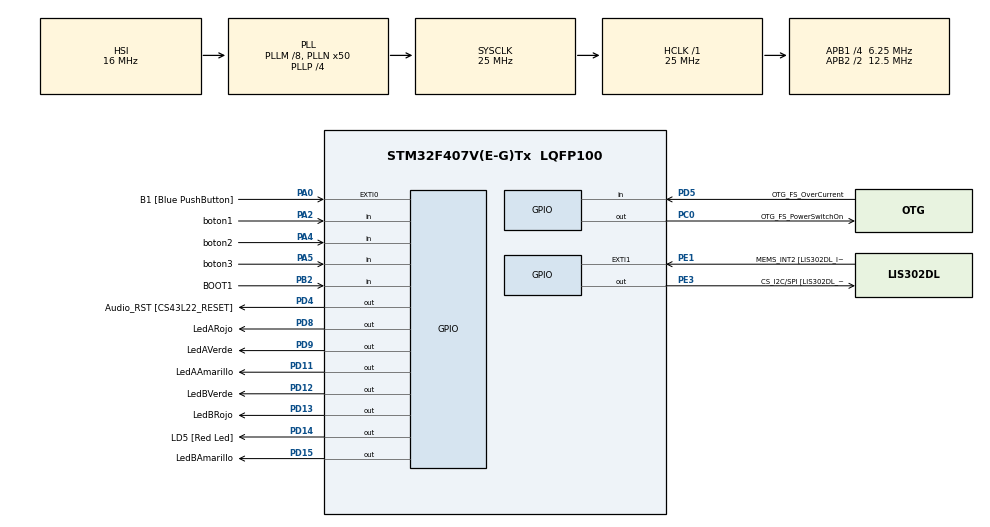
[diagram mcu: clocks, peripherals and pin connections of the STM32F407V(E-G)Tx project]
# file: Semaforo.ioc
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Mcu.Family=STM32F4
Mcu.Name=STM32F407V(E-G)Tx
Mcu.Package=LQFP100
NVIC.PriorityGroup=NVIC_PRIORITYGROUP_0
PA0-WKUP.GPIO_Label=B1 [Blue PushButton]
PA0-WKUP.Signal=GPXTI0
PA10.GPIO_Label=OTG_FS_ID
PA10.GPIO_Mode=GPIO_MODE_AF_PP
PA10.GPIO_PuPd=GPIO_NOPULL
PA10.GPIO_Speed=GPIO_SPEED_FREQ_LOW
PA10.Signal=USB_OTG_FS_ID
PA11.GPIO_Label=OTG_FS_DM
PA11.GPIO_Mode=GPIO_MODE_AF_PP
PA11.GPIO_PuPd=GPIO_NOPULL
PA11.GPIO_Speed=GPIO_SPEED_FREQ_LOW
PA11.Signal=USB_OTG_FS_DM
PA12.GPIO_Label=OTG_FS_DP
PA12.GPIO_Mode=GPIO_MODE_AF_PP
PA12.GPIO_PuPd=GPIO_NOPULL
PA12.GPIO_Speed=GPIO_SPEED_FREQ_LOW
PA12.Signal=USB_OTG_FS_DP
PA13.GPIO_Label=SWDIO
PA13.Signal=SYS_JTMS-SWDIO
PA14.GPIO_Label=SWCLK
PA14.Signal=SYS_JTCK-SWCLK
PA2.GPIO_Label=boton1
PA2.Signal=GPIO_Input
PA4.GPIO_Label=boton2
PA4.Signal=GPIO_Input
PA5.GPIO_Label=boton3
PA5.Signal=GPIO_Input
PA6.GPIO_Label=SPI1_MISO [LIS302DL_SDO]
PA6.GPIO_Mode=GPIO_MODE_AF_PP
PA6.GPIO_PuPd=GPIO_NOPULL
PA6.GPIO_Speed=GPIO_SPEED_FREQ_LOW
PA6.Signal=SPI1_MISO
PA7.GPIO_Label=SPI1_MOSI [LIS302DL_SDA/SDI/SDO]
PA7.GPIO_Mode=GPIO_MODE_AF_PP
PA7.GPIO_PuPd=GPIO_NOPULL
PA7.GPIO_Speed=GPIO_SPEED_FREQ_LOW
PA7.Signal=SPI1_MOSI
PA9.GPIO_Label=VBUS_FS
PA9.GPIO_Mode=GPIO_MODE_INPUT
PA9.GPIO_PuPd=GPIO_NOPULL
PA9.Signal=USB_OTG_FS_VBUS
PB10.GPIO_Label=CLK_IN [MP45DT02_CLK]
PB10.GPIO_Mode=GPIO_MODE_AF_PP
PB10.GPIO_PuPd=GPIO_NOPULL
PB10.GPIO_Speed=GPIO_SPEED_FREQ_LOW
PB10.Signal=I2S2_CK
PB2.GPIO_Label=BOOT1
PB2.GPIO_Mode=GPIO_MODE_INPUT
PB2.GPIO_PuPd=GPIO_NOPULL
PB2.Signal=GPIO_Input
PB3.GPIO_Label=SWO
PB3.Signal=SYS_JTDO-SWO
PB6.GPIO_Label=Audio_SCL [CS43L22_SCL]
PB6.GPIO_Mode=GPIO_MODE_AF_OD
PB6.GPIO_PuPd=GPIO_NOPULL
PB6.GPIO_Speed=GPIO_SPEED_FREQ_LOW
PB6.Signal=I2C1_SCL
PB9.GPIO_Label=Audio_SDA [CS43L22_SDA]
PB9.GPIO_Mode=GPIO_MODE_AF_OD
PB9.GPIO_PuPd=GPIO_NOPULL
PB9.GPIO_Speed=GPIO_SPEED_FREQ_LOW
PB9.Signal=I2C1_SDA
PC0.GPIO_Label=OTG_FS_PowerSwitchOn
PC0.GPIO_PuPd=GPIO_NOPULL
PC0.GPIO_Speed=GPIO_SPEED_FREQ_LOW
PC0.PinState=GPIO_PIN_SET
PC0.Signal=GPIO_Output
PC10.GPIO_Label=I2S3_SCK [CS43L22_SCLK]
PC10.GPIO_Mode=GPIO_MODE_AF_PP
PC10.GPIO_PuPd=GPIO_NOPULL
PC10.GPIO_Speed=GPIO_SPEED_FREQ_LOW
PC10.Signal=I2S3_CK
PC12.GPIO_Label=I2S3_SD [CS43L22_SDIN]
PC12.GPIO_Mode=GPIO_MODE_AF_PP
PC12.GPIO_PuPd=GPIO_NOPULL
PC12.GPIO_Speed=GPIO_SPEED_FREQ_LOW
PC12.Signal=I2S3_SD
PC14-OSC32_IN.GPIO_Label=PC14-OSC32_IN
PC14-OSC32_IN.Signal=RCC_OSC32_IN
PC15-OSC32_OUT.GPIO_Label=PC15-OSC32_OUT
PC15-OSC32_OUT.Signal=RCC_OSC32_OUT
PC3.GPIO_Label=PDM_OUT [MP45DT02_DOUT]
PC3.GPIO_Mode=GPIO_MODE_AF_PP
PC3.GPIO_PuPd=GPIO_NOPULL
PC3.GPIO_Speed=GPIO_SPEED_FREQ_LOW
PC3.Signal=I2S2_SD
PC7.GPIO_Label=I2S3_MCK [CS43L22_MCLK]
PC7.GPIO_Mode=GPIO_MODE_AF_PP
PC7.GPIO_PuPd=GPIO_NOPULL
PC7.GPIO_Speed=GPIO_SPEED_FREQ_LOW
PC7.Signal=I2S3_MCK
PD11.GPIO_Label=LedAAmarillo
PD11.GPIO_Speed=GPIO_SPEED_FREQ_LOW
PD11.Signal=GPIO_Output
PD12.GPIO_Label=LedBVerde
PD12.GPIO_PuPd=GPIO_NOPULL
PD12.GPIO_Speed=GPIO_SPEED_FREQ_LOW
PD12.Signal=GPIO_Output
PD13.GPIO_Label=LedBRojo
PD13.Signal=GPIO_Output
PD14.GPIO_Label=LD5 [Red Led]
PD14.GPIO_PuPd=GPIO_NOPULL
PD14.GPIO_Speed=GPIO_SPEED_FREQ_LOW
PD14.Signal=GPIO_Output
PD15.GPIO_Label=LedBAmarillo
PD15.GPIO_PuPd=GPIO_NOPULL
PD15.GPIO_Speed=GPIO_SPEED_FREQ_LOW
PD15.Signal=GPIO_Output
PD4.GPIO_Label=Audio_RST [CS43L22_RESET]
PD4.GPIO_PuPd=GPIO_NOPULL
PD4.GPIO_Speed=GPIO_SPEED_FREQ_LOW
PD4.Signal=GPIO_Output
PD5.GPIO_Label=OTG_FS_OverCurrent
PD5.GPIO_Mode=GPIO_MODE_INPUT
PD5.GPIO_PuPd=GPIO_NOPULL
PD5.Signal=GPIO_Input
PD8.GPIO_Label=LedARojo
PD8.Signal=GPIO_Output
PD9.GPIO_Label=LedAVerde
PD9.Signal=GPIO_Output
PE1.GPIO_Label=MEMS_INT2 [LIS302DL_INT2]
PE1.GPIO_ModeDefaultEXTI=GPIO_MODE_EVT_RISING
PE1.GPIO_PuPd=GPIO_NOPULL
PE1.Signal=GPXTI1
PE3.GPIO_Label=CS_I2C/SPI [LIS302DL_CS_I2C/SPI]
PE3.GPIO_PuPd=GPIO_NOPULL
PE3.GPIO_Speed=GPIO_SPEED_FREQ_LOW
PE3.Signal=GPIO_Output
PH0-OSC_IN.GPIO_Label=PH0-OSC_IN
PH0-OSC_IN.Signal=RCC_OSC_IN
PH1-OSC_OUT.GPIO_Label=PH1-OSC_OUT
PH1-OSC_OUT.Signal=RCC_OSC_OUT
ProjectManager.HeapSize=0x200
ProjectManager.StackSize=0x400
ProjectManager.TargetToolchain=STM32CubeIDE
RCC.48MHZClocksFreq_Value=14285714.285714285
RCC.AHBFreq_Value=25000000
RCC.APB1CLKDivider=RCC_HCLK_DIV4
RCC.APB1Freq_Value=6250000
RCC.APB1TimFreq_Value=12500000
RCC.APB2CLKDivider=RCC_HCLK_DIV2
RCC.APB2Freq_Value=12500000
RCC.APB2TimFreq_Value=25000000
RCC.CortexFreq_Value=25000000
RCC.HCLKFreq_Value=25000000
RCC.HSE_VALUE=8000000
RCC.HSI_VALUE=16000000
RCC.LSE_VALUE=32768
RCC.PLLM=8
RCC.PLLN=50
RCC.PLLP=RCC_PLLP_DIV4
RCC.PLLQ=7
RCC.SYSCLKFreq_VALUE=25000000
RCC.SYSCLKSource=RCC_SYSCLKSOURCE_PLLCLK
RCC.VCOOutputFreq_Value=100000000
board=STM32F407G-DISC1

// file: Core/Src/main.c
/* USER CODE BEGIN Header */
/**
  ******************************************************************************
  * @file           : main.c
  * @brief          : Main program body
  ******************************************************************************
  * @attention
  *
  * Copyright (c) 2025 STMicroelectronics.
  * All rights reserved.
  *
  * This software is licensed under terms that can be found in the LICENSE file
  * in the root directory of this software component.
  * If no LICENSE file comes with this software, it is provided AS-IS.
  *
  ******************************************************************************
  */
/* USER CODE END Header */
#include "main.h"

/* USER CODE BEGIN Includes */

#include <stdbool.h> // variable booleanas

/* USER CODE END Includes */

/* USER CODE BEGIN PD */
/* Private defines -----------------------------------------------------------*/

#define BOTON3_Pin GPIO_PIN_5
#define BOTON3_GPIO_Port GPIOA

#define BOTON2_Pin GPIO_PIN_4
#define BOTON2_GPIO_Port GPIOA

#define BOTON1_Pin GPIO_PIN_2
#define BOTON1_GPIO_Port GPIOA

#define LUZROJA_Pin GPIO_PIN_8
#define LUZROJA_GPIO_Port GPIOD
#define LUZVERDE_Pin GPIO_PIN_9
#define LUZVERDE_GPIO_Port GPIOD
#define LUZAMARILLA_Pin GPIO_PIN_11
#define LUZAMARILLA_GPIO_Port GPIOD
#define LUZROJAB_Pin GPIO_PIN_13
#define LUZROJAB_GPIO_Port GPIOD
#define LUZVERDEB_Pin GPIO_PIN_12
#define LUZVERDEB_GPIO_Port GPIOD
#define LUZAMARILLAB_Pin GPIO_PIN_15
#define LUZAMARILLAB_GPIO_Port GPIOD

#define TESPERA 2000 // periodo de espera en ms entre las transiciones
#define TREBOTES 20 // intervalo de rebotes en ms
#define TSONDEO 200 // retardo de sondeo en ms
/* USER CODE END PD */

/* USER CODE BEGIN PV */

uint8_t contador = 0;

/* USER CODE END PV */

void SystemClock_Config(void);
static void MX_GPIO_Init(void);

int main(void)
{

  /* MCU Configuration--------------------------------------------------------*/

  /* Reset of all peripherals, Initializes the Flash interface and the Systick. */
  HAL_Init();

  /* Configure the system clock */
  SystemClock_Config();

  /* Initialize all configured peripherals */
  MX_GPIO_Init();
  /* USER CODE BEGIN 2 */

  // Nos aseguramos de apagar todas las luces
  HAL_GPIO_WritePin(LUZAMARILLA_GPIO_Port, LUZAMARILLA_Pin, GPIO_PIN_RESET);
  HAL_GPIO_WritePin(LUZVERDE_GPIO_Port, LUZVERDE_Pin, GPIO_PIN_RESET);
  HAL_GPIO_WritePin(LUZROJA_GPIO_Port, LUZROJA_Pin, GPIO_PIN_RESET);
  HAL_GPIO_WritePin(LUZAMARILLAB_GPIO_Port, LUZAMARILLAB_Pin, GPIO_PIN_RESET);
  HAL_GPIO_WritePin(LUZVERDEB_GPIO_Port, LUZVERDEB_Pin, GPIO_PIN_RESET);
  HAL_GPIO_WritePin(LUZROJAB_GPIO_Port, LUZROJAB_Pin, GPIO_PIN_RESET);

  /* USER CODE END 2 */

  /* Infinite loop */
  while (1)
  {

	  loop_usuario();

  }
}

void SystemClock_Config(void)
{
  RCC_OscInitTypeDef RCC_OscInitStruct = {0};
  RCC_ClkInitTypeDef RCC_ClkInitStruct = {0};

  /** Configure the main internal regulator output voltage
  */
  __HAL_RCC_PWR_CLK_ENABLE();
  __HAL_PWR_VOLTAGESCALING_CONFIG(PWR_REGULATOR_VOLTAGE_SCALE1);

  /** Initializes the RCC Oscillators according to the specified parameters
  * in the RCC_OscInitTypeDef structure.
  */
  RCC_OscInitStruct.OscillatorType = RCC_OSCILLATORTYPE_HSI;
  RCC_OscInitStruct.HSIState = RCC_HSI_ON;
  RCC_OscInitStruct.HSICalibrationValue = RCC_HSICALIBRATION_DEFAULT;
  RCC_OscInitStruct.PLL.PLLState = RCC_PLL_ON;
  RCC_OscInitStruct.PLL.PLLSource = RCC_PLLSOURCE_HSI;
  RCC_OscInitStruct.PLL.PLLM = 8;
  RCC_OscInitStruct.PLL.PLLN = 50;
  RCC_OscInitStruct.PLL.PLLP = RCC_PLLP_DIV4;
  RCC_OscInitStruct.PLL.PLLQ = 7;
  if (HAL_RCC_OscConfig(&RCC_OscInitStruct) != HAL_OK)
  {
    Error_Handler();
  }

  /** Initializes the CPU, AHB and APB buses clocks
  */
  RCC_ClkInitStruct.ClockType = RCC_CLOCKTYPE_HCLK|RCC_CLOCKTYPE_SYSCLK
                              |RCC_CLOCKTYPE_PCLK1|RCC_CLOCKTYPE_PCLK2;
  RCC_ClkInitStruct.SYSCLKSource = RCC_SYSCLKSOURCE_PLLCLK;
  RCC_ClkInitStruct.AHBCLKDivider = RCC_SYSCLK_DIV1;
  RCC_ClkInitStruct.APB1CLKDivider = RCC_HCLK_DIV4;
  RCC_ClkInitStruct.APB2CLKDivider = RCC_HCLK_DIV2;

  if (HAL_RCC_ClockConfig(&RCC_ClkInitStruct, FLASH_LATENCY_0) != HAL_OK)
  {
    Error_Handler();
  }
}

static void MX_GPIO_Init(void)
{
  GPIO_InitTypeDef GPIO_InitStruct = {0};

  /* GPIO Ports Clock Enable */
  __HAL_RCC_GPIOE_CLK_ENABLE();
  __HAL_RCC_GPIOC_CLK_ENABLE();
  __HAL_RCC_GPIOH_CLK_ENABLE();
  __HAL_RCC_GPIOA_CLK_ENABLE();
  __HAL_RCC_GPIOB_CLK_ENABLE();
  __HAL_RCC_GPIOD_CLK_ENABLE();

  /*Configure GPIO pin Output Level */
  HAL_GPIO_WritePin(CS_I2C_SPI_GPIO_Port, CS_I2C_SPI_Pin, GPIO_PIN_RESET);

  /*Configure GPIO pin Output Level */
  HAL_GPIO_WritePin(OTG_FS_PowerSwitchOn_GPIO_Port, OTG_FS_PowerSwitchOn_Pin, GPIO_PIN_SET);

  /*Configure GPIO pin Output Level */
  HAL_GPIO_WritePin(GPIOD, LedARojo_Pin|LedAVerde_Pin|LedAAmarillo_Pin|LedBVerde_Pin
                          |LedBRojo_Pin|LD5_Pin|LedBAmarillo_Pin|Audio_RST_Pin, GPIO_PIN_RESET);

  /*Configure GPIO pin : CS_I2C_SPI_Pin */
  GPIO_InitStruct.Pin = CS_I2C_SPI_Pin;
  GPIO_InitStruct.Mode = GPIO_MODE_OUTPUT_PP;
  GPIO_InitStruct.Pull = GPIO_NOPULL;
  GPIO_InitStruct.Speed = GPIO_SPEED_FREQ_LOW;
  HAL_GPIO_Init(CS_I2C_SPI_GPIO_Port, &GPIO_InitStruct);

  /*Configure GPIO pin : OTG_FS_PowerSwitchOn_Pin */
  GPIO_InitStruct.Pin = OTG_FS_PowerSwitchOn_Pin;
  GPIO_InitStruct.Mode = GPIO_MODE_OUTPUT_PP;
  GPIO_InitStruct.Pull = GPIO_NOPULL;
  GPIO_InitStruct.Speed = GPIO_SPEED_FREQ_LOW;
  HAL_GPIO_Init(OTG_FS_PowerSwitchOn_GPIO_Port, &GPIO_InitStruct);

  /*Configure GPIO pin : PDM_OUT_Pin */
  GPIO_InitStruct.Pin = PDM_OUT_Pin;
  GPIO_InitStruct.Mode = GPIO_MODE_AF_PP;
  GPIO_InitStruct.Pull = GPIO_NOPULL;
  GPIO_InitStruct.Speed = GPIO_SPEED_FREQ_LOW;
  GPIO_InitStruct.Alternate = GPIO_AF5_SPI2;
  HAL_GPIO_Init(PDM_OUT_GPIO_Port, &GPIO_InitStruct);

  /*Configure GPIO pin : B1_Pin */
  GPIO_InitStruct.Pin = B1_Pin;
  GPIO_InitStruct.Mode = GPIO_MODE_IT_RISING;
  GPIO_InitStruct.Pull = GPIO_NOPULL;
  HAL_GPIO_Init(B1_GPIO_Port, &GPIO_InitStruct);

  /*Configure GPIO pins : boton1_Pin boton2_Pin boton3_Pin */
  GPIO_InitStruct.Pin = boton1_Pin|boton2_Pin|boton3_Pin;
  GPIO_InitStruct.Mode = GPIO_MODE_INPUT;
  GPIO_InitStruct.Pull = GPIO_NOPULL;
  HAL_GPIO_Init(GPIOA, &GPIO_InitStruct);

  /*Configure GPIO pins : SPI1_MISO_Pin SPI1_MOSI_Pin */
  GPIO_InitStruct.Pin = SPI1_MISO_Pin|SPI1_MOSI_Pin;
  GPIO_InitStruct.Mode = GPIO_MODE_AF_PP;
  GPIO_InitStruct.Pull = GPIO_NOPULL;
  GPIO_InitStruct.Speed = GPIO_SPEED_FREQ_LOW;
  GPIO_InitStruct.Alternate = GPIO_AF5_SPI1;
  HAL_GPIO_Init(GPIOA, &GPIO_InitStruct);

  /*Configure GPIO pin : BOOT1_Pin */
  GPIO_InitStruct.Pin = BOOT1_Pin;
  GPIO_InitStruct.Mode = GPIO_MODE_INPUT;
  GPIO_InitStruct.Pull = GPIO_NOPULL;
  HAL_GPIO_Init(BOOT1_GPIO_Port, &GPIO_InitStruct);

  /*Configure GPIO pin : CLK_IN_Pin */
  GPIO_InitStruct.Pin = CLK_IN_Pin;
  GPIO_InitStruct.Mode = GPIO_MODE_AF_PP;
  GPIO_InitStruct.Pull = GPIO_NOPULL;
  GPIO_InitStruct.Speed = GPIO_SPEED_FREQ_LOW;
  GPIO_InitStruct.Alternate = GPIO_AF5_SPI2;
  HAL_GPIO_Init(CLK_IN_GPIO_Port, &GPIO_InitStruct);

  /*Configure GPIO pins : LedARojo_Pin LedAVerde_Pin LedAAmarillo_Pin LedBVerde_Pin
                           LedBRojo_Pin LD5_Pin LedBAmarillo_Pin Audio_RST_Pin */
  GPIO_InitStruct.Pin = LedARojo_Pin|LedAVerde_Pin|LedAAmarillo_Pin|LedBVerde_Pin
                          |LedBRojo_Pin|LD5_Pin|LedBAmarillo_Pin|Audio_RST_Pin;
  GPIO_InitStruct.Mode = GPIO_MODE_OUTPUT_PP;
  GPIO_InitStruct.Pull = GPIO_NOPULL;
  GPIO_InitStruct.Speed = GPIO_SPEED_FREQ_LOW;
  HAL_GPIO_Init(GPIOD, &GPIO_InitStruct);

  /*Configure GPIO pins : I2S3_MCK_Pin I2S3_SCK_Pin I2S3_SD_Pin */
  GPIO_InitStruct.Pin = I2S3_MCK_Pin|I2S3_SCK_Pin|I2S3_SD_Pin;
  GPIO_InitStruct.Mode = GPIO_MODE_AF_PP;
  GPIO_InitStruct.Pull = GPIO_NOPULL;
  GPIO_InitStruct.Speed = GPIO_SPEED_FREQ_LOW;
  GPIO_InitStruct.Alternate = GPIO_AF6_SPI3;
  HAL_GPIO_Init(GPIOC, &GPIO_InitStruct);

  /*Configure GPIO pin : VBUS_FS_Pin */
  GPIO_InitStruct.Pin = VBUS_FS_Pin;
  GPIO_InitStruct.Mode = GPIO_MODE_INPUT;
  GPIO_InitStruct.Pull = GPIO_NOPULL;
  HAL_GPIO_Init(VBUS_FS_GPIO_Port, &GPIO_InitStruct);

  /*Configure GPIO pins : OTG_FS_ID_Pin OTG_FS_DM_Pin OTG_FS_DP_Pin */
  GPIO_InitStruct.Pin = OTG_FS_ID_Pin|OTG_FS_DM_Pin|OTG_FS_DP_Pin;
  GPIO_InitStruct.Mode = GPIO_MODE_AF_PP;
  GPIO_InitStruct.Pull = GPIO_NOPULL;
  GPIO_InitStruct.Speed = GPIO_SPEED_FREQ_LOW;
  GPIO_InitStruct.Alternate = GPIO_AF10_OTG_FS;
  HAL_GPIO_Init(GPIOA, &GPIO_InitStruct);

  /*Configure GPIO pin : OTG_FS_OverCurrent_Pin */
  GPIO_InitStruct.Pin = OTG_FS_OverCurrent_Pin;
  GPIO_InitStruct.Mode = GPIO_MODE_INPUT;
  GPIO_InitStruct.Pull = GPIO_NOPULL;
  HAL_GPIO_Init(OTG_FS_OverCurrent_GPIO_Port, &GPIO_InitStruct);

  /*Configure GPIO pins : Audio_SCL_Pin Audio_SDA_Pin */
  GPIO_InitStruct.Pin = Audio_SCL_Pin|Audio_SDA_Pin;
  GPIO_InitStruct.Mode = GPIO_MODE_AF_OD;
  GPIO_InitStruct.Pull = GPIO_NOPULL;
  GPIO_InitStruct.Speed = GPIO_SPEED_FREQ_LOW;
  GPIO_InitStruct.Alternate = GPIO_AF4_I2C1;
  HAL_GPIO_Init(GPIOB, &GPIO_InitStruct);

  /*Configure GPIO pin : MEMS_INT2_Pin */
  GPIO_InitStruct.Pin = MEMS_INT2_Pin;
  GPIO_InitStruct.Mode = GPIO_MODE_EVT_RISING;
  GPIO_InitStruct.Pull = GPIO_NOPULL;
  HAL_GPIO_Init(MEMS_INT2_GPIO_Port, &GPIO_InitStruct);

}

/* USER CODE BEGIN 4 */

// Verificación con antirrebote para cualquier botón
bool VerificarBoton(GPIO_TypeDef* GPIOx, uint16_t GPIO_Pin) {
    static GPIO_PinState estado_anterior[16] = {GPIO_PIN_SET}; // asumimos hasta 16 pines distintos
    GPIO_PinState lectura1 = HAL_GPIO_ReadPin(GPIOx, GPIO_Pin);
    bool pedido = false;

    if (lectura1 != estado_anterior[GPIO_Pin]) {
        HAL_Delay(TREBOTES);
        GPIO_PinState lectura2 = HAL_GPIO_ReadPin(GPIOx, GPIO_Pin);
        if (lectura1 == lectura2) {
            if (estado_anterior[GPIO_Pin] == GPIO_PIN_SET && lectura2 == GPIO_PIN_RESET) {
                pedido = true;
            }
            estado_anterior[GPIO_Pin] = lectura2;
        }
    }
    return pedido;
}

// Determinar si el botón fue pulsado
void MostrarContadorEnLEDs(uint8_t contador) {
    // Bit 0: Verde 1
    HAL_GPIO_WritePin(LUZVERDE_GPIO_Port, LUZVERDE_Pin,
                      (contador & (1 << 0)) ? GPIO_PIN_SET : GPIO_PIN_RESET);

    // Bit 1: Amarillo 1
    HAL_GPIO_WritePin(LUZAMARILLA_GPIO_Port, LUZAMARILLA_Pin,
                      (contador & (1 << 1)) ? GPIO_PIN_SET : GPIO_PIN_RESET);

    // Bit 2: Rojo 1
    HAL_GPIO_WritePin(LUZROJA_GPIO_Port, LUZROJA_Pin,
                      (contador & (1 << 2)) ? GPIO_PIN_SET : GPIO_PIN_RESET);

    // Bit 3: Verde 2
    HAL_GPIO_WritePin(LUZVERDEB_GPIO_Port, LUZVERDEB_Pin,
                      (contador & (1 << 3)) ? GPIO_PIN_SET : GPIO_PIN_RESET);

    // Bit 4: Amarillo 2
    HAL_GPIO_WritePin(LUZAMARILLAB_GPIO_Port, LUZAMARILLAB_Pin,
                      (contador & (1 << 4)) ? GPIO_PIN_SET : GPIO_PIN_RESET);

    // Bit 5: Rojo 2
    HAL_GPIO_WritePin(LUZROJAB_GPIO_Port, LUZROJAB_Pin,
                      (contador & (1 << 5)) ? GPIO_PIN_SET : GPIO_PIN_RESET);
}

void loop_usuario(void) {
    if (VerificarBoton(BOTON1_GPIO_Port, BOTON1_Pin)) {
        if (contador < 63) contador++;
    } else if (VerificarBoton(BOTON2_GPIO_Port, BOTON2_Pin)) {
        if (contador > 0) contador--;
    } else if (VerificarBoton(BOTON3_GPIO_Port, BOTON3_Pin)) {
        contador = 0;
    }

    MostrarContadorEnLEDs(contador);

    HAL_Delay(TSONDEO); // retardo de sondeo para evitar múltiples lecturas seguidas
}

/* USER CODE END 4 */

void Error_Handler(void)
{
  __disable_irq();
  while (1)
  {
  }
}
